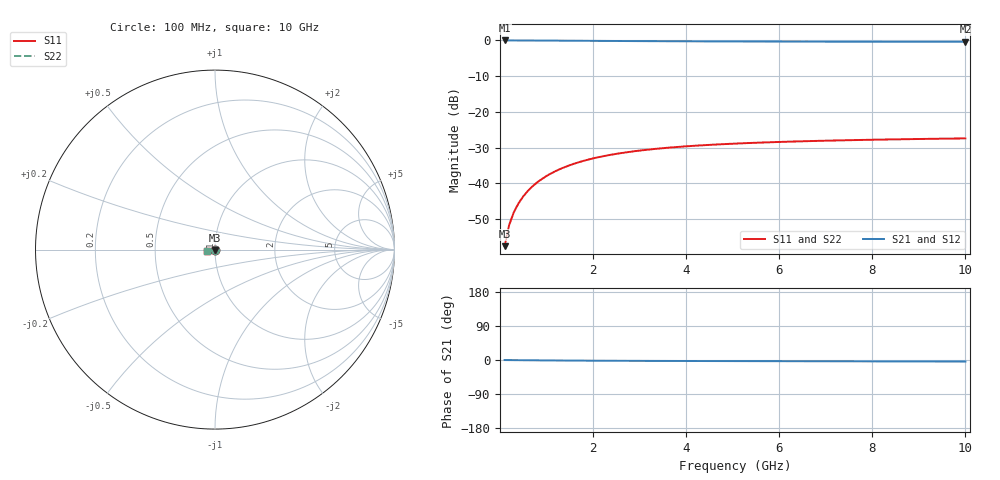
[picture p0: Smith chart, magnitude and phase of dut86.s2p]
! Touchstone file exported from HFSS 2024.1.0
!  File:  C:/UserFiles/LocalFiles/RDL_TSV_Batchsim/temp_TSV1_86_1778751255.aedt
!  Generated:  05:40:12 PM May 14, 2026
!  Design:  TSV1
!  Project:  temp_TSV1_86_1778751255
!  Setup:  Setup1
!  Solution:  Sweep
! Variables:
!  dtsv = 14.56um
!  hbump = 3um
!  htsv = 59.64um
!  lrdl = 252.1521522um
!  p = 40
!  p1 = 56.63um
!  t = 500um
!  trdl = 3um
!  wrdl = 24.89489489um
# GHz S MA R 50.000000
! Terminal data exported
! Port[1] = TSV22_T1
! Port[2] = TSV22_T2
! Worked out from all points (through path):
!   100 points, 100 MHz to 10 GHz, reference 50 ohm
!   highest |S21| = 0.00 dB at 100 MHz (marker M1); lowest = -0.4 dB at 10 GHz (marker M2)
!   lowest |S11| = -57.5 dB at 100 MHz (marker M3), VSWR 1.00, Z = 50 - j0.133 ohm
!   |S11| at or under -10 dB: start of sweep to end of sweep
!   |S22| runs from -57.5 to -27.4 dB; largest |S21 - S12| = 3.3e-15
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0.1  0.001328 -89.0  0.9999 -0.1  0.9999 -0.1  0.001328 -89.0
! Gamma 0 0 0 0
! Port Impedance 50 0 50 0
0.2  0.002655 -92.2  0.9997 -0.2  0.9997 -0.2  0.002655 -92.2
0.3  0.003979 -94.6  0.9995 -0.3  0.9995 -0.3  0.003979 -94.6
0.4  0.005294 -96.8  0.9992 -0.5  0.9992 -0.5  0.005294 -96.8
0.5  0.006593 -98.9  0.9987 -0.6  0.9987 -0.6  0.006593 -98.9
0.6  0.007872 -100.9  0.9983 -0.7  0.9983 -0.7  0.007872 -100.9
0.7  0.009127 -102.9  0.9977 -0.8  0.9977 -0.8  0.009127 -102.9
0.8  0.01035 -104.8  0.9971 -0.9  0.9971 -0.9  0.01035 -104.8
0.9  0.01155 -106.7  0.9964 -1.0  0.9964 -1.0  0.01155 -106.7
1.1  0.01385 -110.3  0.995 -1.2  0.995 -1.2  0.01385 -110.3
1.4  0.01703 -115.4  0.9925 -1.4  0.9925 -1.4  0.01703 -115.4
1.6  0.01896 -118.6  0.9907 -1.6  0.9907 -1.6  0.01896 -118.6
1.8  0.02075 -121.6  0.989 -1.7  0.989 -1.7  0.02075 -121.6
2.1  0.02317 -125.7  0.9863 -1.9  0.9863 -1.9  0.02317 -125.7
2.5  0.02596 -130.8  0.9829 -2.1  0.9829 -2.1  0.02596 -130.8
2.9  0.0283 -135.2  0.9798 -2.3  0.9798 -2.3  0.0283 -135.2
3.4  0.03072 -140.1  0.9763 -2.4  0.9763 -2.4  0.03072 -140.1
4.2  0.03373 -146.6  0.9717 -2.7  0.9717 -2.7  0.03373 -146.6
5.1  0.03621 -152.6  0.9676 -2.9  0.9676 -2.9  0.03621 -152.6
6.7  0.03922 -160.9  0.9625 -3.3  0.9625 -3.3  0.03922 -160.9
8.4  0.0413 -167.7  0.959 -3.7  0.959 -3.7  0.0413 -167.7
10  0.04269 -173.0  0.9567 -4.1  0.9567 -4.1  0.04269 -173.0
